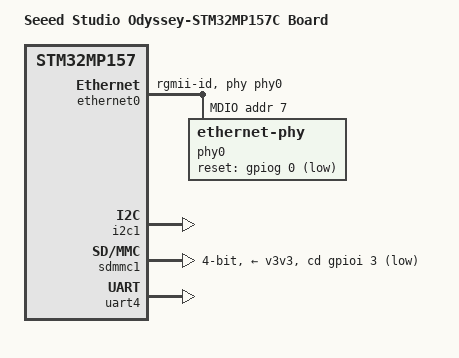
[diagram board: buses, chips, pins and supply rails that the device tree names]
// SPDX-License-Identifier: (GPL-2.0+ OR BSD-3-Clause)
/*
 * Copyright (C) 2020 Marcin Sloniewski <marcin.sloniewski@gmail.com>.
 */

/dts-v1/;

#include "stm32mp157c-odyssey-som.dtsi"

/ {
	model = "Seeed Studio Odyssey-STM32MP157C Board";
	compatible = "seeed,stm32mp157c-odyssey",
		     "seeed,stm32mp157c-odyssey-som", "st,stm32mp157";

	aliases {
		ethernet0 = &ethernet0;
		serial0 = &uart4;
	};

	chosen {
		stdout-path = "serial0:115200n8";
	};
};

&dcmi {
	pinctrl-names = "default", "sleep";
	pinctrl-0 = <&dcmi_pins_b>;
	pinctrl-1 = <&dcmi_sleep_pins_b>;
};

&ethernet0 {
	status = "okay";
	pinctrl-0 = <&ethernet0_rgmii_pins_a>;
	pinctrl-1 = <&ethernet0_rgmii_sleep_pins_a>;
	pinctrl-names = "default", "sleep";
	phy-mode = "rgmii-id";
	max-speed = <1000>;
	phy-handle = <&phy0>;
	assigned-clocks = <&rcc ETHCK_K>, <&rcc PLL4_P>;
	assigned-clock-parents = <&rcc PLL4_P>;
	assigned-clock-rates = <125000000>; /* Clock PLL4 to 750Mhz in ATF/U-Boot */
	st,eth-clk-sel;

	mdio0 {
		#address-cells = <1>;
		#size-cells = <0>;
		compatible = "snps,dwmac-mdio";
		phy0: ethernet-phy@7 { /* KSZ9031RN */
			reg = <7>;
			reset-gpios = <&gpiog 0 GPIO_ACTIVE_LOW>; /* ETH_RST# */
			reset-assert-us = <10000>;
			reset-deassert-us = <300>;
		};
	};
};

&i2c1 {
	pinctrl-names = "default", "sleep";
	pinctrl-0 = <&i2c1_pins_a>;
	pinctrl-1 = <&i2c1_sleep_pins_a>;
	i2c-scl-rising-time-ns = <100>;
	i2c-scl-falling-time-ns = <7>;
	status = "okay";
	/delete-property/dmas;
	/delete-property/dma-names;
};

&sdmmc1 {
	pinctrl-names = "default", "opendrain", "sleep";
	pinctrl-0 = <&sdmmc1_b4_pins_a>;
	pinctrl-1 = <&sdmmc1_b4_od_pins_a>;
	pinctrl-2 = <&sdmmc1_b4_sleep_pins_a>;
	cd-gpios = <&gpioi 3 (GPIO_ACTIVE_LOW | GPIO_PULL_UP)>;
	disable-wp;
	st,neg-edge;
	bus-width = <4>;
	vmmc-supply = <&v3v3>;
	status = "okay";
};

&uart4 {
	pinctrl-names = "default";
	pinctrl-0 = <&uart4_pins_a>;
	/delete-property/dmas;
	/delete-property/dma-names;
	status = "okay";
};

